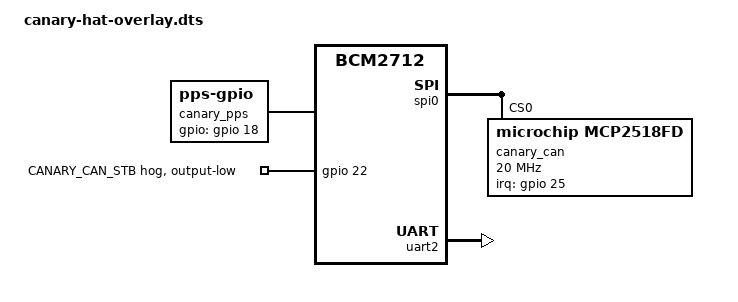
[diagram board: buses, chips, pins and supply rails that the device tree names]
// CANary-HAT rev 2.0 board overlay (Raspberry Pi 5).
//
// Named by the HAT+ ID EEPROM (eeprom_settings.txt, dt_blob "canary-hat"), so
// firmware loads it at boot with no config.txt lines. Covers what §11 of
// docs/CANary-HAT-Spec.md asks of the overlay:
//
//   CAN   MCP2518FD (U3) on SPI0 CE0, nINT GPIO25, 40 MHz crystal (Y1) -> can0
//         TCAN1042 (U4) STB on GPIO22, hogged LOW. STB has an internal pull-up,
//         so an undriven pin leaves the transceiver in standby and can0 up but
//         deaf -- the "dead CAN hardware" trap. The hog asserts it before any
//         userspace exists and survives a daemon crash.
//   GNSS  MAX-M10M (U7) on uart2 (GPIO4 TX / GPIO5 RX) -> /dev/ttyAMA2
//         TIMEPULSE on GPIO18 -> pps-gpio (/dev/ppsN)
//   K-line TLIN1027 (U2) on uart0 (GPIO14/15). DORMANT by default: nothing
//         consumes it yet, and a console on uart0 turns a held-low RXD into a
//         SysRq break (§11 step 1). Enable with dtoverlay=canary-hat,kline.
//
// Deliberately NOT here: kernel drivers for the LSM6DSOX (0x6B), BMP384 (0x77)
// and ADS1015 (0x48). CANary reads those from userspace over /dev/i2c-1; a bound
// kernel driver would claim the address and make those reads fail with EBUSY.
// GPIO24 (K-line pull-up FET) and GPIO26 (TLIN1027 EN) are left to the K-line
// collector; R15/R4 hold them off until it drives them.
//
// Constants are written numerically so plain `dtc` builds it on the Pi with no
// kernel headers: IRQ_TYPE_LEVEL_LOW = 8, GPIO_ACTIVE_HIGH = 0,
// BCM2835_FSEL_GPIO_IN = 0.
//
// Build: dtc -@ -I dts -O dtb -o canary-hat.dtbo canary-hat-overlay.dts

/dts-v1/;
/plugin/;

/ {
	compatible = "brcm,bcm2712";

	fragment@0 {
		target = <&spidev0>;
		__overlay__ {
			status = "disabled";
		};
	};

	fragment@1 {
		target-path = "/clocks";
		__overlay__ {
			clk_canary_can: clk_canary_can {
				#clock-cells = <0>;
				compatible = "fixed-clock";
				clock-frequency = <40000000>;
			};
		};
	};

	fragment@2 {
		target = <&gpio>;
		__overlay__ {
			canary_can_int: canary_can_int {
				brcm,pins = <25>;
				brcm,function = <0>;
			};

			canary_pps_pins: canary_pps_pins {
				brcm,pins = <18>;
				brcm,function = <0>;
				brcm,pull = <0>;
			};

			canary_can_stb {
				gpio-hog;
				gpios = <22 0>;
				output-low;
				line-name = "CANARY_CAN_STB";
			};
		};
	};

	fragment@3 {
		target = <&spi0>;
		__overlay__ {
			status = "okay";
			#address-cells = <1>;
			#size-cells = <0>;

			canary_can: can@0 {
				compatible = "microchip,mcp2518fd";
				reg = <0>;
				pinctrl-names = "default";
				pinctrl-0 = <&canary_can_int>;
				spi-max-frequency = <20000000>;
				interrupt-parent = <&gpio>;
				interrupts = <25 8>;
				clocks = <&clk_canary_can>;
			};
		};
	};

	fragment@4 {
		target = <&uart2>;
		__overlay__ {
			status = "okay";
			pinctrl-0 = <&uart2_pins>;
		};
	};

	fragment@5 {
		target-path = "/";
		__overlay__ {
			canary_pps: canary-pps {
				compatible = "pps-gpio";
				pinctrl-names = "default";
				pinctrl-0 = <&canary_pps_pins>;
				gpios = <&gpio 18 0>;
				status = "okay";
			};
		};
	};

	fragment@6 {
		target = <&uart0>;
		__dormant__ {
			status = "okay";
			pinctrl-0 = <&uart0_pins>;
		};
	};

	__overrides__ {
		kline = <0>, "+6";
	};
};
